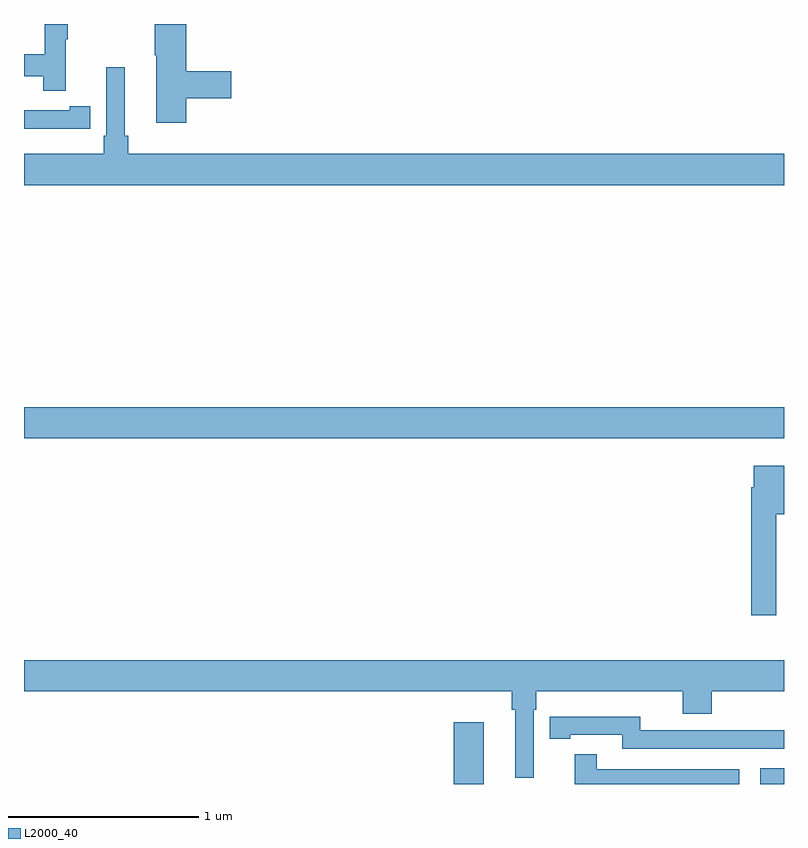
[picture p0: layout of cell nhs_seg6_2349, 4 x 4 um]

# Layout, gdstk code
import gdstk
lib = gdstk.Library(unit=1e-6, precision=1e-09)
def R(c, l, rs):  # rectangles x0, y0, x1, y1
    for r in rs: c.add(gdstk.rectangle(r[:2], r[2:], *l))
def P(c, l, *ps):  # polygons
    for p in ps: c.add(gdstk.Polygon(p, *l))
L2000_40 = (2000, 40)

nhs_seg6_2349 = lib.new_cell('nhs_seg6_2349')
R(nhs_seg6_2349, L2000_40, [(253.262,961.5,253.42,961.825), (254.874,961.5,255,961.582), (251,963.32,255,963.484)])
P(nhs_seg6_2349, L2000_40, [(251.855,965.11),(252.091,965.11),(252.091,965.252),(251.855,965.252),(251.855,965.5),(251.689,965.5),(251.689,965.335),(251.696,965.335),(251.696,964.98),(251.855,964.98)],
  [(251.219,965.419),(251.23,965.419),(251.23,965.5),(251.109,965.5),(251.109,965.342),(251,965.342),(251,965.226),(251.101,965.226),(251.101,965.148),(251.219,965.148)],
  [(255,964.816),(251.549,964.816),(251.549,964.912),(251.53,964.912),(251.53,965.272),(251.433,965.272),(251.433,964.912),(251.42,964.912),(251.42,964.816),(251,964.816),(251,964.652),(255,964.652)],
  [(251.24,964.95),(251.348,964.95),(251.348,965.066),(251.24,965.066),(251.24,965.046),(251,965.046),(251,964.949),(251.24,964.949)],
  [(254.959,962.919),(255,962.919),(255,963.175),(254.84,963.175),(254.84,963.062),(254.828,963.062),(254.828,962.388),(254.959,962.388)],
  [(253.683,961.892),(253.697,961.892),(253.697,961.988),(254.468,961.988),(254.468,961.871),(254.621,961.871),(254.621,961.988),(255,961.988),(255,962.152),(251,962.152),(251,961.988),(253.567,961.988),(253.567,961.892),(253.586,961.892),(253.586,961.533),(253.683,961.533)],
  [(255,961.784),(254.704,961.784),(254.704,961.782),(254.244,961.782),(254.244,961.855),(253.876,961.855),(253.876,961.854),(253.768,961.854),(253.768,961.738),(253.876,961.738),(253.876,961.758),(254.148,961.758),(254.148,961.686),(255,961.686)],
  [(254.764,961.578),(254.015,961.578),(254.015,961.657),(253.898,961.657),(253.898,961.5),(254.764,961.5)])

lib.write_gds('nhs_seg6_2349.gds')
